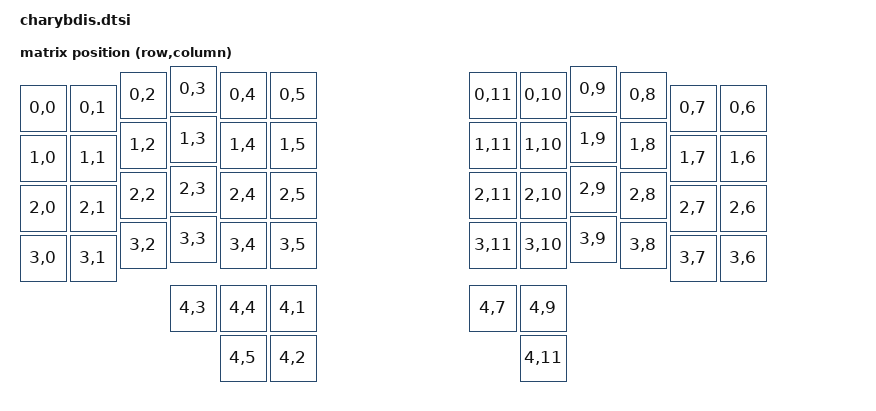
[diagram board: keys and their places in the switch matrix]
#include <dt-bindings/zmk/matrix_transform.h>
#include <physical_layouts.dtsi>

/ {
    chosen {
        zmk,kscan = &kscan0;
        zmk,physical-layout = &charybdis_6col_layout;
    };

    default_transform: keymap_transform_0 {
        compatible = "zmk,matrix-transform";
        columns = <12>;
        rows = <5>;

        map = <
	RC(0,0) RC(0,1) RC(0,2) RC(0,3) RC(0,4) RC(0,5)  RC(0,11) RC(0,10) RC(0,9) RC(0,8) RC(0,7) RC(0,6)
	RC(1,0) RC(1,1) RC(1,2) RC(1,3) RC(1,4) RC(1,5)  RC(1,11) RC(1,10) RC(1,9) RC(1,8) RC(1,7) RC(1,6)
	RC(2,0) RC(2,1) RC(2,2) RC(2,3) RC(2,4) RC(2,5)  RC(2,11) RC(2,10) RC(2,9) RC(2,8) RC(2,7) RC(2,6)
    RC(3,0) RC(3,1) RC(3,2) RC(3,3) RC(3,4) RC(3,5)  RC(3,11) RC(3,10) RC(3,9) RC(3,8) RC(3,7) RC(3,6)
		    RC(4,3) RC(4,4) RC(4,1) RC(4,5) RC(4,2)  RC(4,7) RC(4,9) RC(4,11)
        >;
    };
	
    kscan0: kscan {
        diode-direction = "row2col";
    };

    charybdis_6col_layout: charybdis_6col_layout {
        compatible = "zmk,physical-layout";
        display-name = "Charybdis 4x6";

        transform = <&default_transform>;

        keys
            // Left Half - Main Keys
            //                       w   h    x    y     rot    rx    ry
            = <&key_physical_attrs 100 100    0   38       0     0     0>
            , <&key_physical_attrs 100 100  100   38       0     0     0>
            , <&key_physical_attrs 100 100  200   12       0     0     0>
            , <&key_physical_attrs 100 100  300    0       0     0     0>
            , <&key_physical_attrs 100 100  400   12       0     0     0>
            , <&key_physical_attrs 100 100  500   12       0     0     0>
            , <&key_physical_attrs 100 100  900   12       0     0     0>
            , <&key_physical_attrs 100 100 1000   12       0     0     0>
            , <&key_physical_attrs 100 100 1100    0       0     0     0>
            , <&key_physical_attrs 100 100 1200   12       0     0     0>
            , <&key_physical_attrs 100 100 1300   38       0     0     0>
            , <&key_physical_attrs 100 100 1400   38       0     0     0>

            , <&key_physical_attrs 100 100    0  138       0     0     0>
            , <&key_physical_attrs 100 100  100  138       0     0     0>
            , <&key_physical_attrs 100 100  200  112       0     0     0>
            , <&key_physical_attrs 100 100  300  100       0     0     0>
            , <&key_physical_attrs 100 100  400  112       0     0     0>
            , <&key_physical_attrs 100 100  500  112       0     0     0>
            , <&key_physical_attrs 100 100  900  112       0     0     0>
            , <&key_physical_attrs 100 100 1000  112       0     0     0>
            , <&key_physical_attrs 100 100 1100  100       0     0     0>
            , <&key_physical_attrs 100 100 1200  112       0     0     0>
            , <&key_physical_attrs 100 100 1300  138       0     0     0>
            , <&key_physical_attrs 100 100 1400  138       0     0     0>

            , <&key_physical_attrs 100 100    0  238       0     0     0>
            , <&key_physical_attrs 100 100  100  238       0     0     0>
            , <&key_physical_attrs 100 100  200  212       0     0     0>
            , <&key_physical_attrs 100 100  300  200       0     0     0>
            , <&key_physical_attrs 100 100  400  212       0     0     0>
            , <&key_physical_attrs 100 100  500  212       0     0     0>
            , <&key_physical_attrs 100 100  900  212       0     0     0>
            , <&key_physical_attrs 100 100 1000  212       0     0     0>
            , <&key_physical_attrs 100 100 1100  200       0     0     0>
            , <&key_physical_attrs 100 100 1200  212       0     0     0>
            , <&key_physical_attrs 100 100 1300  238       0     0     0>
            , <&key_physical_attrs 100 100 1400  238       0     0     0>

            , <&key_physical_attrs 100 100    0  338       0     0     0>
            , <&key_physical_attrs 100 100  100  338       0     0     0>
            , <&key_physical_attrs 100 100  200  312       0     0     0>
            , <&key_physical_attrs 100 100  300  300       0     0     0>
            , <&key_physical_attrs 100 100  400  312       0     0     0>
            , <&key_physical_attrs 100 100  500  312       0     0     0>
            , <&key_physical_attrs 100 100  900  312       0     0     0>
            , <&key_physical_attrs 100 100 1000  312       0     0     0>
            , <&key_physical_attrs 100 100 1100  300       0     0     0>
            , <&key_physical_attrs 100 100 1200  312       0     0     0>
            , <&key_physical_attrs 100 100 1300  338       0     0     0>
            , <&key_physical_attrs 100 100 1400  338       0     0     0>

            // Thumb Clusters - 2 rows: top(48,49,50|53,54) bottom(51,52|55)
            //                       w   h    x    y     rot    rx    ry
            , <&key_physical_attrs 100 100  300  438       0     0     0>  // 48 left top row
            , <&key_physical_attrs 100 100  400  438       0     0     0>  // 49
            , <&key_physical_attrs 100 100  500  438       0     0     0>  // 50
            , <&key_physical_attrs 100 100  400  538       0     0     0>  // 51 left bottom row
            , <&key_physical_attrs 100 100  500  538       0     0     0>  // 52
            , <&key_physical_attrs 100 100  900  438       0     0     0>  // 53 right top row
            , <&key_physical_attrs 100 100 1000  438       0     0     0>  // 54
            , <&key_physical_attrs 100 100 1000  538       0     0     0>  // 55 right bottom row
            ;
    };

    charybdis_position_map {
        compatible = "zmk,physical-layout-position-map";

        complete;

        twelve {
            physical-layout = <&charybdis_6col_layout>;
            positions
                = < 0  1  2  3  4  5  6  7  8  9 10 11 >
                , <12 13 14 15 16 17 18 19 20 21 22 23 >
                , <24 25 26 27 28 29 30 31 32 33 34 35 >
                , <36 37 38 39 40 41 42 43 44 45 46 47 >
                , <   48 49 50 51 52 53 54 55          >
                ;
        };
    };
};







